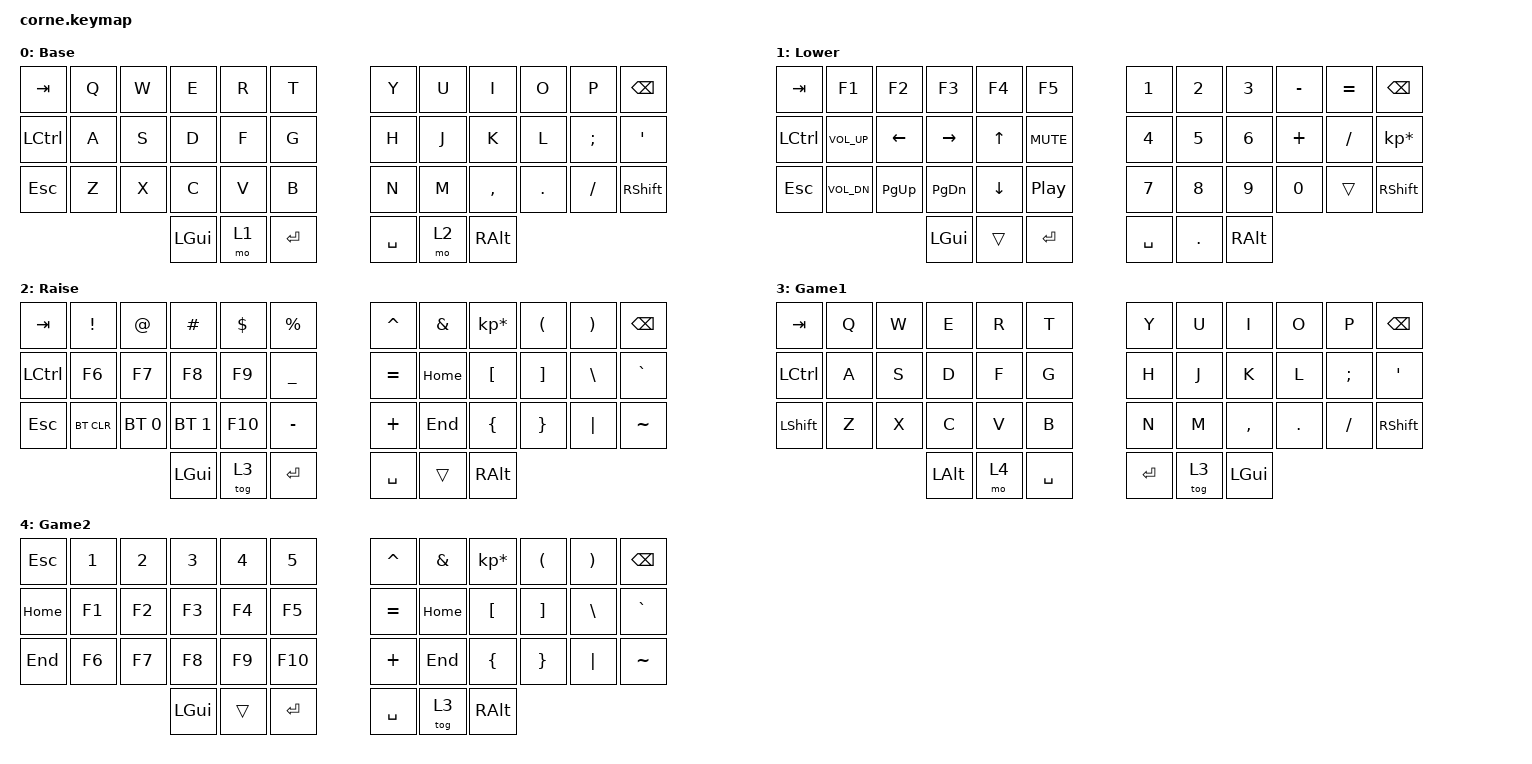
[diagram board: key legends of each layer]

/*
 * Copyright (c) 2020 The ZMK Contributors
 *
 * SPDX-License-Identifier: MIT
 */

#include <behaviors.dtsi>
#include <dt-bindings/zmk/keys.h>
#include <dt-bindings/zmk/bt.h>
#include <dt-bindings/zmk/outputs.h>


/ {
        keymap {
                compatible = "zmk,keymap";
                #define DEFAULT = 0
                #define LOWER = 1
                #define RAISE = 2
                #define GAME1 = 3
                #define GAMEw = 4

                default_layer {
// -----------------------------------------------------------------------------------------
// |  TAB |  Q  |  W  |  E  |  R  |  T  |   |  Y  |  U   |  I  |  O  |  P  | BKSP |
// | CTRL |  A  |  S  |  D  |  F  |  G  |   |  H  |  J   |  K  |  L  |  ;  |  '   |
// | ESC  |  Z  |  X  |  C  |  V  |  B  |   |  N  |  M   |  ,  |  .  |  /  | SHFT |
//                    | GUI | LWR | RET |   | SPC | RSE  | ALT |
                        label = "Base";
                        bindings = <
   &kp TAB   &kp Q &kp W &kp E &kp R &kp T   &kp Y &kp U  &kp I     &kp O   &kp P    &kp BSPC
   &kp LCTRL &kp A &kp S &kp D &kp F &kp G   &kp H &kp J  &kp K     &kp L   &kp SEMI &kp SQT
   &kp ESC &kp Z &kp X &kp C &kp V &kp B     &kp N &kp M  &kp COMMA &kp DOT &kp FSLH &kp RSHFT
                  &kp LGUI &mo 1 &kp RET     &kp SPACE &mo 2 &kp RALT
                        >;
                };
                lower_layer {
// -----------------------------------------------------------------------------------------
// | TAB |  F1        |  F2  | F3    |  F4  | F5   |     | 1 | 2 | 3 | - | = | BKSP |
// | CTRL| C_VOL_UP   | LEFT | RIGHT | UP   | C_MUTE |   | 4 | 5 | 6 | + | / |   *  |
// | ESC | C_VOL_DN |PG_UP | PG_DOWN | DOWN | C_PP |     | 7 | 8 | 9 | 0 |   | SHFT |
//                           | GUI   |      | RET  |     | SPC |  .  | ALT |
                        label = "Lower";
                        bindings = <
   &kp TAB   &kp F1       &kp F2   &kp F3    &kp F4   &kp F5         &kp N1 &kp N2 &kp N3 &kp MINUS &kp EQUAL &kp BSPC
   &kp LCTRL &kp C_VOL_UP &kp LEFT &kp RIGHT &kp UP   &kp C_MUTE     &kp N4 &kp N5 &kp N6 &kp PLUS  &kp FSLH  &kp KP_MULTIPLY
   &kp ESC   &kp C_VOL_DN &kp PG_UP &kp PG_DN   &kp DOWN &kp C_PP       &kp N7 &kp N8 &kp N9 &kp N0    &trans    &kp RSHFT
                                &kp LGUI     &trans       &kp RET      &kp SPACE  &kp DOT   &kp RALT
                        >;
                };

                raise_layer {
// -----------------------------------------------------------------------------------------
// |  TAB |  !     |  @ |  #  |  $  |  %  |   |  ^  |  &  |  *  |  (  |  )  | BKSP |
// | CTRL |  F6    | F7 | F8  | F9  | _ |   |  =  | HOME |  [  |  ]  |  \  |  `   |
// | ESC  | BTCLR | BT1 | BT2 | F10 | - |   |  +  | END |  {  |  }  | "|" |  ~   |
//                    | GUI | TOGGLE | RET |   | SPC |     | ALT |
                        label = "Raise";
                        bindings = <
   &kp TAB   &kp EXCL   &kp AT       &kp HASH     &kp DLLR &kp PRCNT      &kp CARET &kp AMPS  &kp KP_MULTIPLY &kp LPAR &kp RPAR &kp BSPC
   &kp LCTRL &kp F6     &kp F7       &kp F8       &kp F9   &kp UNDER      &kp EQUAL &kp HOME  &kp LBKT        &kp RBKT &kp BSLH &kp GRAVE
   &kp ESC   &bt BT_CLR &bt BT_SEL 0 &bt BT_SEL 1 &kp F10  &kp MINUS      &kp PLUS  &kp END   &kp LBRC        &kp RBRC &kp PIPE &kp TILDE
                    	     &kp LGUI &tog 3   &kp RET                    &kp SPACE   &trans    &kp RALT
                        >;
                };
                game1_layer {
// -----------------------------------------------------------------------------------------
// |  TAB |  Q  |  W  |  E  |  R  |  T  |   |  Y  |  U   |  I  |  O  |  P  | BKSP |
// | CTRL |  A  |  S  |  D  |  F  |  G  |   |  H  |  J   |  K  |  L  |  ;  |  '   |
// | SHFT  |  Z  |  X  |  C  |  V  |  B  |   |  N  |  M   |  ,  |  .  |  /  | SHFT |
//                    | ALT | RSE | SPC |   | RET | TOGGLE  | GUI ||
                        label = "Game1";
                        bindings = <
   &kp TAB   &kp Q &kp W &kp E &kp R &kp T   &kp Y &kp U  &kp I     &kp O   &kp P    &kp BSPC
   &kp LCTRL &kp A &kp S &kp D &kp F &kp G   &kp H &kp J  &kp K     &kp L   &kp SEMI &kp SQT
   &kp LSHFT &kp Z &kp X &kp C &kp V &kp B     &kp N &kp M  &kp COMMA &kp DOT &kp FSLH &kp RSHFT
                &kp LALT &mo 4 &kp SPACE     &kp RET &tog 3 &kp LGUI
                        >;
                };
                game2_layer {
// -----------------------------------------------------------------------------------------
// |  ESC |  1 |  2 |  3 |  4  |  5  |   |  ^  |  &  |  *  |  (  |  )  | BKSP |
// | HOME | F1 | F2 | F3 | F4  | F5  |   |  =  | HOME |  [  |  ]  |  \  |  `   |
// | END  | F6 | F7 | F8 | F9  | F10 |   |  +  | END |  {  |  }  | "|" |  ~   |
//                    | GUI |     | RET |   | SPC |  TOGGLE  | ALT |
                        label = "Game2";
                        bindings = <
   &kp ESC   &kp N1 &kp N2 &kp N3 &kp N4 &kp N5      &kp CARET &kp AMPS  &kp KP_MULTIPLY &kp LPAR &kp RPAR &kp BSPC
   &kp HOME  &kp F1 &kp F2 &kp F3 &kp F4 &kp F5      &kp EQUAL &kp HOME &kp LBKT        &kp RBKT &kp BSLH &kp GRAVE
   &kp END   &kp F6 &kp F7 &kp F8 &kp F9 &kp F10     &kp PLUS &kp END  &kp LBRC        &kp RBRC &kp PIPE &kp TILDE
                    	     &kp LGUI &trans   &kp RET          &kp SPACE   &tog 3    &kp RALT
                        >;
                };
        };
};
